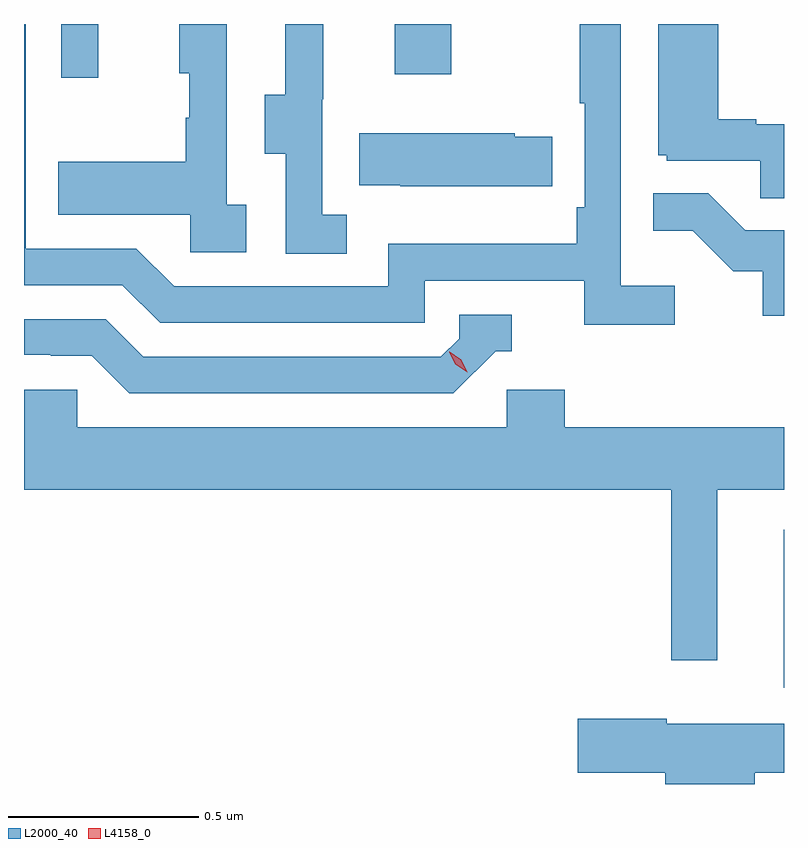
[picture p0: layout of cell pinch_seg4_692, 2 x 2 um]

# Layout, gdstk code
import gdstk
lib = gdstk.Library(unit=1e-6, precision=1e-09)
def R(c, l, rs):  # rectangles x0, y0, x1, y1
    for r in rs: c.add(gdstk.rectangle(r[:2], r[2:], *l))
def P(c, l, *ps):  # polygons
    for p in ps: c.add(gdstk.Polygon(p, *l))
L2000_40 = (2000, 40)
L4158_0 = (4158, 0)

pinch_seg4_692 = lib.new_cell('pinch_seg4_692')
R(pinch_seg4_692, L2000_40, [(1140.032,764.33,1140.033,764.746), (1138.131,765.936,1138.229,766.077), (1139.009,765.945,1139.157,766.077)])
P(pinch_seg4_692, L2000_40, [(1138.618,765.602),(1138.566,765.602),(1138.566,766.077),(1138.442,766.077),(1138.442,765.948),(1138.468,765.948),(1138.468,765.83),(1138.458,765.83),(1138.458,765.715),(1138.123,765.715),(1138.123,765.575),(1138.47,765.575),(1138.47,765.477),(1138.618,765.477)],
  [(1139.746,765.388),(1139.604,765.388),(1139.604,766.077),(1139.496,766.077),(1139.496,765.868),(1139.508,765.868),(1139.508,765.595),(1139.488,765.595),(1139.488,765.499),(1138.992,765.499),(1138.992,765.387),(1138.428,765.387),(1138.329,765.486),(1138.038,765.486),(1138.038,766.077),(1138.033,766.077),(1138.033,765.39),(1138.292,765.39),(1138.391,765.291),(1139.088,765.291),(1139.088,765.402),(1139.507,765.402),(1139.507,765.286),(1139.746,765.286)],
  [(1138.882,765.575),(1138.818,765.575),(1138.818,765.879),(1138.82,765.879),(1138.82,766.077),(1138.721,766.077),(1138.721,765.891),(1138.667,765.891),(1138.667,765.736),(1138.722,765.736),(1138.722,765.472),(1138.882,765.472)],
  [(1140.033,765.813),(1139.96,765.813),(1139.96,765.826),(1139.86,765.826),(1139.86,766.077),(1139.702,766.077),(1139.702,765.732),(1139.724,765.732),(1139.724,765.717),(1139.971,765.717),(1139.971,765.619),(1140.033,765.619)],
  [(1139.423,765.78),(1139.325,765.78),(1139.325,765.79),(1138.915,765.79),(1138.915,765.653),(1139.023,765.653),(1139.023,765.65),(1139.423,765.65)],
  [(1140.033,765.534),(1139.931,765.534),(1139.833,765.632),(1139.689,765.632),(1139.689,765.533),(1139.793,765.533),(1139.9,765.426),(1139.977,765.426),(1139.977,765.309),(1140.033,765.309)],
  [(1139.274,765.216),(1139.317,765.216),(1139.317,765.312),(1139.178,765.312),(1139.178,765.249),(1139.13,765.201),(1138.347,765.201),(1138.248,765.3),(1138.033,765.3),(1138.033,765.207),(1138.104,765.207),(1138.104,765.204),(1138.211,765.204),(1138.31,765.105),(1139.163,765.105)],
  [(1139.857,764.852),(1140.033,764.852),(1140.033,765.016),(1139.456,765.016),(1139.456,765.114),(1139.304,765.114),(1139.304,765.016),(1138.173,765.016),(1138.173,765.114),(1138.033,765.114),(1138.033,764.852),(1139.736,764.852),(1139.736,764.403),(1139.857,764.403)],
  [(1139.956,764.107),(1140.033,764.107),(1140.033,764.236),(1139.724,764.236),(1139.724,764.249),(1139.49,764.249),(1139.49,764.107),(1139.72,764.107),(1139.72,764.077),(1139.956,764.077)])
P(pinch_seg4_692, L4158_0, [(1139.199,765.161),(1139.168,765.181),(1139.152,765.214),(1139.152,765.214),(1139.153,765.214),(1139.183,765.194),(1139.199,765.161),(1139.199,765.161)])

lib.write_gds('pinch_seg4_692.gds')
